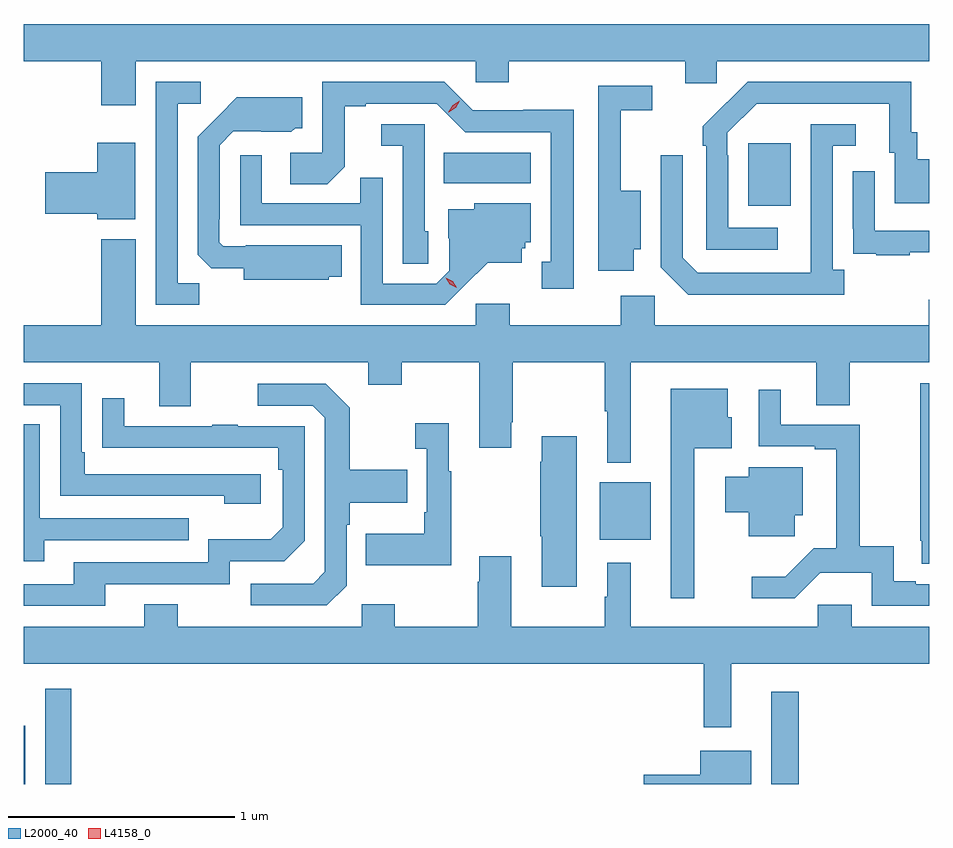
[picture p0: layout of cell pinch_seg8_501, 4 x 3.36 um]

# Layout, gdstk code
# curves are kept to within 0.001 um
import gdstk
lib = gdstk.Library(unit=1e-6, precision=1e-09)
def R(c, l, rs):  # rectangles x0, y0, x1, y1
    for r in rs: c.add(gdstk.rectangle(r[:2], r[2:], *l))
def P(c, l, *ps):  # polygons
    for p in ps: c.add(gdstk.Polygon(p, *l))
L2000_40 = (2000, 40)
L4158_0 = (4158, 0)

pinch_seg8_501 = lib.new_cell('pinch_seg8_501')
R(pinch_seg8_501, L2000_40, [(203,1119.965,203.005,1120.222), (203.094,1119.965,203.21,1120.387), (206.303,1119.965,206.425,1120.372), (205.544,1121.045,205.771,1121.299), (206.201,1122.521,206.389,1122.796), (204.856,1122.62,205.24,1122.754)])
P(pinch_seg8_501, L2000_40, [(203.494,1123.16),(204.996,1123.16),(204.996,1123.067),(205.143,1123.067),(205.143,1123.16),(205.922,1123.16),(205.922,1123.062),(206.061,1123.062),(206.061,1123.16),(207,1123.16),(207,1123.324),(203,1123.324),(203,1123.16),(203.342,1123.16),(203.342,1122.966),(203.494,1122.966)],
  [(203.775,1122.179),(203.679,1122.179),(203.679,1122.972),(203.782,1122.972),(203.782,1123.068),(203.583,1123.068),(203.583,1122.084),(203.775,1122.084)],
  [(206.332,1122.423),(206.112,1122.423),(206.112,1122.743),(206.109,1122.743),(206.109,1122.843),(206.238,1122.972),(206.825,1122.972),(206.825,1122.756),(206.849,1122.756),(206.849,1122.531),(207,1122.531),(207,1122.727),(206.947,1122.727),(206.947,1122.846),(206.922,1122.846),(206.922,1123.068),(206.198,1123.068),(206.001,1122.873),(206.001,1122.785),(206.016,1122.785),(206.016,1122.327),(206.332,1122.327)],
  [(205.429,1122.944),(205.206,1122.944),(205.206,1122.942),(204.984,1122.942),(204.858,1123.068),(204.318,1123.068),(204.318,1122.756),(204.177,1122.756),(204.177,1122.616),(204.341,1122.616),(204.417,1122.692),(204.417,1122.96),(204.511,1122.96),(204.511,1122.972),(204.825,1122.972),(204.951,1122.846),(205.328,1122.846),(205.328,1122.273),(205.289,1122.273),(205.289,1122.153),(205.429,1122.153)],
  [(205.696,1122.329),(205.726,1122.329),(205.726,1122.586),(205.637,1122.586),(205.637,1122.942),(205.777,1122.942),(205.777,1123.05),(205.539,1123.05),(205.539,1122.482),(205.538,1122.482),(205.538,1122.234),(205.696,1122.234)],
  [(204.348,1122.206),(204.404,1122.206),(204.404,1122.346),(203.98,1122.346),(203.98,1122.342),(203.88,1122.342),(203.862,1122.36),(203.862,1122.46),(203.865,1122.46),(203.865,1122.789),(203.925,1122.849),(204.182,1122.848),(204.198,1122.864),(204.229,1122.864),(204.229,1123),(203.941,1123),(203.769,1122.826),(203.769,1122.304),(203.828,1122.245),(203.972,1122.245),(203.972,1122.194),(204.348,1122.194)],
  [(204.786,1122.408),(204.771,1122.408),(204.771,1122.882),(204.579,1122.882),(204.579,1122.785),(204.675,1122.785),(204.675,1122.265),(204.786,1122.265)],
  [(206.626,1122.238),(206.574,1122.238),(206.574,1122.786),(206.677,1122.786),(206.677,1122.882),(206.478,1122.882),(206.477,1122.225),(205.977,1122.225),(205.911,1122.291),(205.911,1122.745),(205.815,1122.745),(205.815,1122.249),(205.936,1122.128),(206.626,1122.128)],
  [(203.491,1122.799),(203.324,1122.799),(203.324,1122.668),(203.094,1122.668),(203.094,1122.485),(203.324,1122.485),(203.324,1122.461),(203.491,1122.461)],
  [(204.946,1122.167),(205.049,1122.269),(205.201,1122.269),(205.201,1122.333),(205.215,1122.333),(205.215,1122.36),(205.24,1122.36),(205.24,1122.532),(204.99,1122.532),(204.99,1122.505),(204.875,1122.505),(204.875,1122.376),(204.879,1122.376),(204.879,1122.234),(204.822,1122.177),(204.585,1122.177),(204.585,1122.644),(204.487,1122.644),(204.487,1122.531),(204.051,1122.531),(204.051,1122.745),(203.955,1122.745),(203.955,1122.435),(204.489,1122.435),(204.489,1122.084),(204.862,1122.084)],
  [(206.915,1122.315),(207,1122.315),(207,1122.411),(206.76,1122.411),(206.76,1122.673),(206.664,1122.673),(206.664,1122.418),(206.665,1122.418),(206.665,1122.309),(206.767,1122.309),(206.767,1122.303),(206.915,1122.303)],
  [(205.681,1121.828),(206.501,1121.828),(206.501,1121.638),(206.649,1121.638),(206.649,1121.828),(207,1121.828),(207,1122.105),(206.999,1122.105),(206.999,1121.992),(205.788,1121.992),(205.788,1122.124),(205.637,1122.124),(205.637,1121.992),(205.148,1121.992),(205.148,1122.088),(204.996,1122.088),(204.996,1121.992),(203.494,1121.992),(203.494,1122.373),(203.342,1122.373),(203.342,1121.992),(203,1121.992),(203,1121.828),(203.597,1121.828),(203.597,1121.634),(203.737,1121.634),(203.737,1121.828),(204.521,1121.828),(204.521,1121.729),(204.669,1121.729),(204.669,1121.828),(205.013,1121.828),(205.013,1121.451),(205.153,1121.451),(205.153,1121.563),(205.161,1121.563),(205.161,1121.828),(205.567,1121.828),(205.567,1121.612),(205.577,1121.612),(205.577,1121.384),(205.681,1121.384)],
  [(204.046,1121.334),(203.269,1121.334),(203.269,1121.431),(203.256,1121.431),(203.256,1121.736),(203,1121.736),(203,1121.64),(203.16,1121.64),(203.16,1121.238),(203.885,1121.238),(203.885,1121.204),(204.046,1121.204)],
  [(207,1121.736),(206.962,1121.736),(206.962,1121.041),(206.968,1121.041),(206.968,1120.939),(207,1120.939)],
  [(204.426,1120.842),(204.426,1121.111),(204.439,1121.111),(204.439,1121.207),(204.695,1121.207),(204.695,1121.355),(204.439,1121.355),(204.439,1121.627),(204.333,1121.733),(204.033,1121.733),(204.033,1121.637),(204.276,1121.637),(204.33,1121.583),(204.33,1120.902),(204.279,1120.851),(204.003,1120.851),(204.003,1120.755),(204.339,1120.755)],
  [(205.963,1121.45),(206.128,1121.45),(206.128,1121.586),(206.11,1121.586),(206.11,1121.713),(205.859,1121.713),(205.859,1120.785),(205.963,1120.785)],
  [(207,1120.848),(206.941,1120.848),(206.941,1120.862),(206.844,1120.862),(206.844,1121.015),(206.693,1121.015),(206.693,1121.553),(206.344,1121.553),(206.344,1121.707),(206.247,1121.707),(206.247,1121.457),(206.495,1121.457),(206.495,1121.445),(206.591,1121.445),(206.591,1121.008),(206.491,1121.008),(206.365,1120.882),(206.217,1120.882),(206.217,1120.785),(206.406,1120.785),(206.519,1120.898),(206.748,1120.898),(206.748,1120.752),(207,1120.752)],
  [(203.359,1120.848),(203.91,1120.848),(203.91,1120.95),(204.15,1120.95),(204.24,1121.04),(204.24,1121.547),(203.945,1121.547),(203.945,1121.552),(203.833,1121.552),(203.833,1121.547),(203.443,1121.547),(203.443,1121.671),(203.347,1121.671),(203.347,1121.452),(204.124,1121.451),(204.124,1121.354),(204.144,1121.354),(204.144,1121.1),(204.091,1121.047),(203.814,1121.047),(203.814,1120.944),(203.219,1120.944),(203.219,1120.848),(203,1120.848),(203,1120.752),(203.359,1120.752)],
  [(204.889,1121.347),(204.877,1121.347),(204.877,1121.56),(204.729,1121.56),(204.729,1121.447),(204.78,1121.447),(204.78,1121.167),(204.768,1121.167),(204.768,1121.071),(204.511,1121.071),(204.511,1120.931),(204.889,1120.931)],
  [(203.089,1121.043),(203.729,1121.043),(203.729,1121.139),(203.07,1121.139),(203.07,1121.555),(203,1121.555),(203,1120.949),(203.089,1120.949)],
  [(205.444,1121.503),(205.289,1121.503),(205.289,1121.39),(205.282,1121.39),(205.282,1121.059),(205.289,1121.059),(205.289,1120.836),(205.444,1120.836)],
  [(206.407,1121.153),(206.443,1121.153),(206.443,1121.365),(206.204,1121.365),(206.204,1121.323),(206.099,1121.323),(206.099,1121.165),(206.204,1121.165),(206.204,1121.06),(206.407,1121.06)],
  [(206.125,1120.496),(207,1120.496),(207,1120.66),(206.659,1120.66),(206.659,1120.758),(206.508,1120.758),(206.508,1120.66),(205.681,1120.66),(205.681,1120.942),(205.577,1120.942),(205.577,1120.793),(205.567,1120.793),(205.567,1120.66),(205.153,1120.66),(205.153,1120.972),(205.013,1120.972),(205.013,1120.859),(205.006,1120.859),(205.006,1120.66),(204.639,1120.66),(204.639,1120.759),(204.492,1120.759),(204.492,1120.66),(203.679,1120.66),(203.679,1120.759),(203.531,1120.759),(203.531,1120.66),(203,1120.66),(203,1120.496),(206.004,1120.496),(206.004,1120.215),(206.125,1120.215)],
  [(206.215,1120.111),(205.988,1120.111),(205.988,1120.005),(205.74,1120.005),(205.74,1119.965),(206.215,1119.965)])
P(pinch_seg8_501, L4158_0, [(204.876,1122.934),(204.876,1122.934),(204.894,1122.966),(204.926,1122.985),(204.926,1122.985),(204.926,1122.985),(204.908,1122.953),(204.877,1122.934)],
  [(204.912,1122.158),(204.881,1122.173),(204.864,1122.202),(204.864,1122.203),(204.864,1122.203),(204.895,1122.188),(204.912,1122.158),(204.912,1122.158)])

lib.write_gds('pinch_seg8_501.gds')
